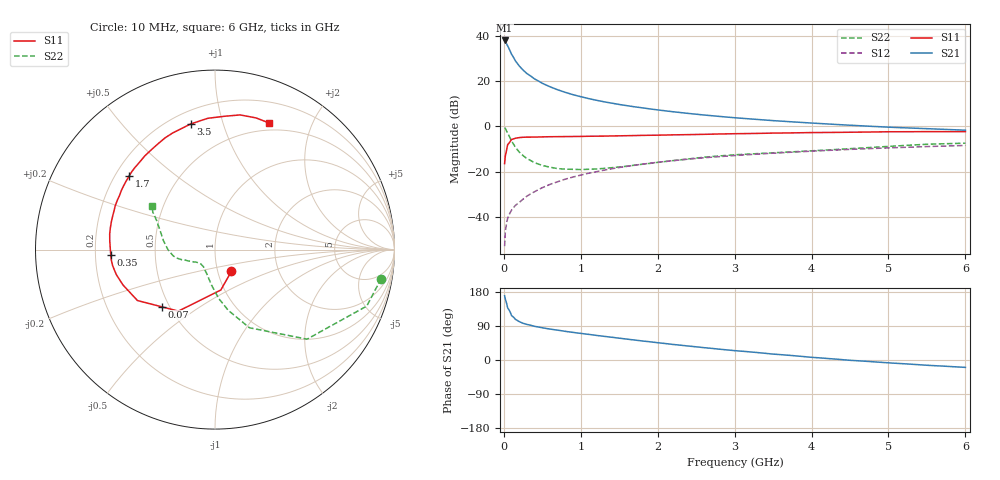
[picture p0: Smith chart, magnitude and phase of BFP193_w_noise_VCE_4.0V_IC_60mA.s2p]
! Infineon Technologies  Discrete & RF Semiconductors
! BFP193
! VCE =  4.0 V,  IC =  60 mA
! Common Emitter S-Parameters:  Jan 2017
# GHz  S  MA  R  50
!  f  S11  S21  S12  S22
! GHz  MAG  ANG  MAG  ANG  MAG  ANG  MAG  ANG
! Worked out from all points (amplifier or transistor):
!   77 points, 10 MHz to 6 GHz, reference 50 ohm
!   highest |S21| = 37.9 dB at 10 MHz (marker M1)
!   |S21| within 3 dB of that: start of sweep to 58.93 MHz
!   unconditionally stable (mu >= 1): 487.6 MHz to 2.411 GHz
!   at 130 MHz: K = 0.67, MSG = 32.9 dB, |S12| = -35.6 dB
!   at 2.2 GHz: K = 1.01, MAG = 10.2 dB, |S12| = -15.1 dB
!   at 6 GHz: K = 0.93, MSG = 3.4 dB, |S12| = -8.4 dB
!   lowest NFmin = 1.67 dB at 450 MHz
!   S11 on the Smith chart (normalised r, x): 10 MHz: 1.16, -0.29; 70 MHz: 0.46, -0.36; 350 MHz: 0.26, -0.02; 1.7 GHz: 0.26, +0.35; 3.5 GHz: 0.28, +0.79; 6 GHz: 0.42, +1.43
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0.01  0.1518 -53.0  78.38 169.6  0.0023 85.0  0.9397 -9.9
0.02  0.2275 -81.8  76.02 160.1  0.005 76.8  0.9023 -20.4
0.05  0.3991 -120.8  59.53 137.4  0.0095 61.8  0.7157 -44.2
0.07  0.4349 -132.8  50.67 131.3  0.0114 61.5  0.6102 -50.9
0.1  0.5169 -146.7  39.06 117.3  0.0143 61.2  0.4762 -66.2
0.15  0.5496 -159.1  27.9 107.4  0.0182 60.1  0.3462 -77.7
0.2  0.5672 -165.8  21.51 101.3  0.0211 63.8  0.2735 -85.6
0.25  0.5772 -171.0  17.44 96.9  0.025 65.1  0.2277 -90.9
0.3  0.5808 -174.4  14.64 93.9  0.0291 66.5  0.1959 -96.1
0.35  0.5813 -177.3  12.86 91.7  0.0328 68.0  0.1769 -99.5
0.4  0.5832 179.9  11.12 88.8  0.0365 69.2  0.1587 -103.7
0.5  0.5882 175.4  8.92 85.0  0.0447 70.1  0.1382 -110.3
0.6  0.5931 171.6  7.477 81.6  0.0528 69.8  0.1264 -116.5
0.8  0.5977 165.2  5.628 75.6  0.069 69.6  0.1145 -125.2
1.1  0.6073 156.2  4.119 67.7  0.093 67.2  0.1136 -135.9
1.7  0.6295 139.6  2.705 52.7  0.1394 59.9  0.1403 -151.0
2.1  0.6463 129.3  2.206 43.4  0.1691 54.7  0.1687 -158.8
3.1  0.6941 108.2  1.509 23.1  0.234 41.6  0.2419 -173.9
3.5  0.7129 101.0  1.343 15.6  0.2577 37.1  0.2627 179.8
4.1  0.734 91.7  1.161 5.7  0.2903 29.6  0.2962 168.5
5.1  0.7635 78.1  0.948 -8.7  0.3412 18.0  0.3713 152.5
6  0.767 66.9  0.826 -19.5  0.3807 7.9  0.4281 145.0
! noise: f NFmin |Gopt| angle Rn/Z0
0.45  1.67  0.48  -170  0.1
0.9  1.73  0.49  -163  0.1
1.9  2.41  0.62  -131  0.27
2.4  2.75  0.65  -118  0.56
